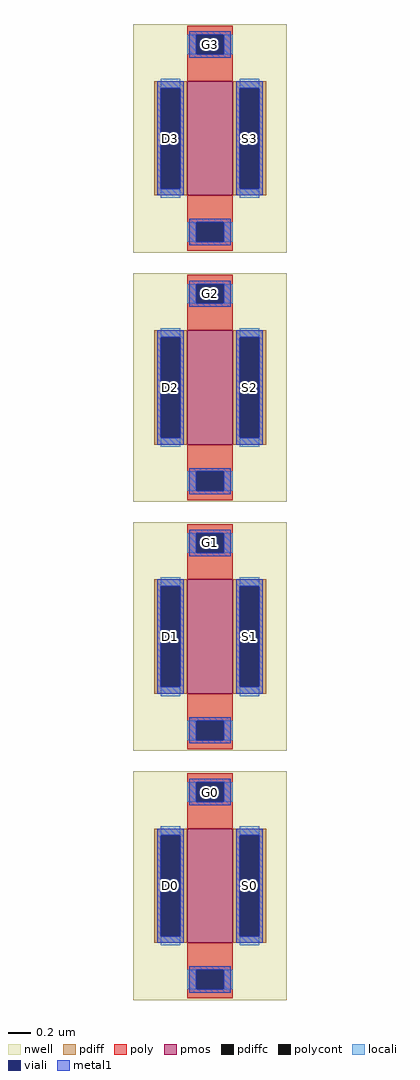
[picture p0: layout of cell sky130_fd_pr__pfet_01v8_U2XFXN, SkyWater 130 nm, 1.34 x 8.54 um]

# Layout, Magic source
magic
tech sky130A
magscale 1 2
<< nwell >>
rect -134 454 134 854
rect -134 18 134 418
rect -134 -418 134 -18
rect -134 -854 134 -454
<< pmos >>
rect -40 554 40 754
rect -40 118 40 318
rect -40 -318 40 -118
rect -40 -754 40 -554
<< pdiff >>
rect -98 742 -40 754
rect -98 566 -86 742
rect -52 566 -40 742
rect -98 554 -40 566
rect 40 742 98 754
rect 40 566 52 742
rect 86 566 98 742
rect 40 554 98 566
rect -98 306 -40 318
rect -98 130 -86 306
rect -52 130 -40 306
rect -98 118 -40 130
rect 40 306 98 318
rect 40 130 52 306
rect 86 130 98 306
rect 40 118 98 130
rect -98 -130 -40 -118
rect -98 -306 -86 -130
rect -52 -306 -40 -130
rect -98 -318 -40 -306
rect 40 -130 98 -118
rect 40 -306 52 -130
rect 86 -306 98 -130
rect 40 -318 98 -306
rect -98 -566 -40 -554
rect -98 -742 -86 -566
rect -52 -742 -40 -566
rect -98 -754 -40 -742
rect 40 -566 98 -554
rect 40 -742 52 -566
rect 86 -742 98 -566
rect 40 -754 98 -742
<< pdiffc >>
rect -86 566 -52 742
rect 52 566 86 742
rect -86 130 -52 306
rect 52 130 86 306
rect -86 -306 -52 -130
rect 52 -306 86 -130
rect -86 -742 -52 -566
rect 52 -742 86 -566
<< poly >>
rect -40 835 40 851
rect -40 801 -24 835
rect 24 801 40 835
rect -40 754 40 801
rect -40 507 40 554
rect -40 473 -24 507
rect 24 473 40 507
rect -40 457 40 473
rect -40 399 40 415
rect -40 365 -24 399
rect 24 365 40 399
rect -40 318 40 365
rect -40 71 40 118
rect -40 37 -24 71
rect 24 37 40 71
rect -40 21 40 37
rect -40 -37 40 -21
rect -40 -71 -24 -37
rect 24 -71 40 -37
rect -40 -118 40 -71
rect -40 -365 40 -318
rect -40 -399 -24 -365
rect 24 -399 40 -365
rect -40 -415 40 -399
rect -40 -473 40 -457
rect -40 -507 -24 -473
rect 24 -507 40 -473
rect -40 -554 40 -507
rect -40 -801 40 -754
rect -40 -835 -24 -801
rect 24 -835 40 -801
rect -40 -851 40 -835
<< polycont >>
rect -24 801 24 835
rect -24 473 24 507
rect -24 365 24 399
rect -24 37 24 71
rect -24 -71 24 -37
rect -24 -399 24 -365
rect -24 -507 24 -473
rect -24 -835 24 -801
<< locali >>
rect -40 801 -24 835
rect 24 801 40 835
rect -86 742 -52 758
rect -86 550 -52 566
rect 52 742 86 758
rect 52 550 86 566
rect -40 473 -24 507
rect 24 473 40 507
rect -40 365 -24 399
rect 24 365 40 399
rect -86 306 -52 322
rect -86 114 -52 130
rect 52 306 86 322
rect 52 114 86 130
rect -40 37 -24 71
rect 24 37 40 71
rect -40 -71 -24 -37
rect 24 -71 40 -37
rect -86 -130 -52 -114
rect -86 -322 -52 -306
rect 52 -130 86 -114
rect 52 -322 86 -306
rect -40 -399 -24 -365
rect 24 -399 40 -365
rect -40 -507 -24 -473
rect 24 -507 40 -473
rect -86 -566 -52 -550
rect -86 -758 -52 -742
rect 52 -566 86 -550
rect 52 -758 86 -742
rect -40 -835 -24 -801
rect 24 -835 40 -801
<< viali >>
rect -24 801 24 835
rect -86 566 -52 742
rect 52 566 86 742
rect -24 473 24 507
rect -24 365 24 399
rect -86 130 -52 306
rect 52 130 86 306
rect -24 37 24 71
rect -24 -71 24 -37
rect -86 -306 -52 -130
rect 52 -306 86 -130
rect -24 -399 24 -365
rect -24 -507 24 -473
rect -86 -742 -52 -566
rect 52 -742 86 -566
rect -24 -835 24 -801
<< metal1 >>
rect -36 835 36 841
rect -36 801 -24 835
rect 24 801 36 835
rect -36 795 36 801
rect -92 742 -46 754
rect -92 566 -86 742
rect -52 566 -46 742
rect -92 554 -46 566
rect 46 742 92 754
rect 46 566 52 742
rect 86 566 92 742
rect 46 554 92 566
rect -36 507 36 513
rect -36 473 -24 507
rect 24 473 36 507
rect -36 467 36 473
rect -36 399 36 405
rect -36 365 -24 399
rect 24 365 36 399
rect -36 359 36 365
rect -92 306 -46 318
rect -92 130 -86 306
rect -52 130 -46 306
rect -92 118 -46 130
rect 46 306 92 318
rect 46 130 52 306
rect 86 130 92 306
rect 46 118 92 130
rect -36 71 36 77
rect -36 37 -24 71
rect 24 37 36 71
rect -36 31 36 37
rect -36 -37 36 -31
rect -36 -71 -24 -37
rect 24 -71 36 -37
rect -36 -77 36 -71
rect -92 -130 -46 -118
rect -92 -306 -86 -130
rect -52 -306 -46 -130
rect -92 -318 -46 -306
rect 46 -130 92 -118
rect 46 -306 52 -130
rect 86 -306 92 -130
rect 46 -318 92 -306
rect -36 -365 36 -359
rect -36 -399 -24 -365
rect 24 -399 36 -365
rect -36 -405 36 -399
rect -36 -473 36 -467
rect -36 -507 -24 -473
rect 24 -507 36 -473
rect -36 -513 36 -507
rect -92 -566 -46 -554
rect -92 -742 -86 -566
rect -52 -742 -46 -566
rect -92 -754 -46 -742
rect 46 -566 92 -554
rect 46 -742 52 -566
rect 86 -742 92 -566
rect 46 -754 92 -742
rect -36 -801 36 -795
rect -36 -835 -24 -801
rect 24 -835 36 -801
rect -36 -841 36 -835
<< labels >>
rlabel pdiffc -69 -654 -69 -654 0 D0
port 1 nsew
rlabel pdiffc 69 -654 69 -654 0 S0
port 2 nsew
rlabel polycont 0 -490 0 -490 0 G0
port 3 nsew
rlabel pdiffc -69 -218 -69 -218 0 D1
port 4 nsew
rlabel pdiffc 69 -218 69 -218 0 S1
port 5 nsew
rlabel polycont 0 -54 0 -54 0 G1
port 6 nsew
rlabel pdiffc -69 218 -69 218 0 D2
port 7 nsew
rlabel pdiffc 69 218 69 218 0 S2
port 8 nsew
rlabel polycont 0 382 0 382 0 G2
port 9 nsew
rlabel pdiffc -69 654 -69 654 0 D3
port 10 nsew
rlabel pdiffc 69 654 69 654 0 S3
port 11 nsew
rlabel polycont 0 818 0 818 0 G3
port 12 nsew
<< properties >>
string gencell sky130_fd_pr__pfet_01v8
string library sky130
string parameters w 1.0 l 0.4 m 4 nf 1 diffcov 100 polycov 100 guard 0 glc 0 grc 0 gtc 0 gbc 0 tbcov 100 rlcov 100 topc 1 botc 1 poverlap 0 doverlap 1 lmin 0.15 wmin 0.42 class mosfet compatible {sky130_fd_pr__pfet_01v8  sky130_fd_pr__pfet_01v8_lvt sky130_fd_pr__pfet_01v8_hvt  sky130_fd_pr__pfet_g5v0d10v5} full_metal 0 conn_gates 0 viasrc 100 viadrn 100 viagate 100 viagb 0 viagr 0 viagl 0 viagt 0 doports 1
<< end >>
